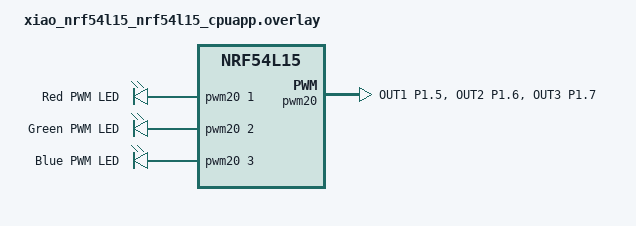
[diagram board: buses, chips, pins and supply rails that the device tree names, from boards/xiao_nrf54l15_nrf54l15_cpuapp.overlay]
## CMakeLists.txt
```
# SPDX-License-Identifier: Apache-2.0

cmake_minimum_required(VERSION 3.20.0)
# Boot-time reset reason readout, see lib/reset_reason
list(APPEND ZEPHYR_EXTRA_MODULES ${CMAKE_CURRENT_LIST_DIR}/../lib/reset_reason)
find_package(Zephyr REQUIRED HINTS $ENV{ZEPHYR_BASE})
project(pwm_rgb_led)

target_sources(app PRIVATE
  src/main.c
)
```

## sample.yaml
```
sample:
  name: PWM RGB LED
  description: RGB LED control using 3-channel PWM with rainbow effects and HSV color conversion
tests:
  sample.pwm.rgb_led:
    harness: console
    platform_allow:
      - xiao_nrf54l15/nrf54l15/cpuapp
    tags: pwm rgb led color hsv
    integration_platforms:
      - xiao_nrf54l15/nrf54l15/cpuapp
```

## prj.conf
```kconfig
CONFIG_PRINTK=y
CONFIG_PWM=y
CONFIG_LOG=y
CONFIG_LOG_PRINTK=y
CONFIG_LOG_MODE_IMMEDIATE=y
CONFIG_PWM_LOG_LEVEL_DBG=y

# Enable floating point for HSV to RGB conversion
CONFIG_FPU=y
CONFIG_NEWLIB_LIBC=y
CONFIG_NEWLIB_LIBC_FLOAT_PRINTF=y

# Disable serial to allow battery startup without USB
CONFIG_SERIAL=n
```

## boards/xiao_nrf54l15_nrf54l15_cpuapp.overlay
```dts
/*
 * Copyright (c) 2024 Nordic Semiconductor ASA
 *
 * SPDX-License-Identifier: Apache-2.0
 * 
 * PWM RGB LED sample for XIAO nRF54L15
 * 
 * RGB LED connections:
 * - D1 (P1.05): Red   - PWM20 CHAN[1]
 * - D2 (P1.06): Green - PWM20 CHAN[2]
 * - D3 (P1.07): Blue  - PWM20 CHAN[3]
 */

#include <zephyr/dt-bindings/pwm/pwm.h>

/ {
	aliases { 
		red-pwm-led = &red_pwm_led;
		green-pwm-led = &green_pwm_led;
		blue-pwm-led = &blue_pwm_led;
	};
	
	pwmleds {
		compatible = "pwm-leds";
		
		red_pwm_led: red_pwm_led {
			pwms = <&pwm20 1 PWM_MSEC(20) PWM_POLARITY_NORMAL>;
			label = "Red PWM LED";
		};
		
		green_pwm_led: green_pwm_led {
			pwms = <&pwm20 2 PWM_MSEC(20) PWM_POLARITY_NORMAL>;
			label = "Green PWM LED";
		};
		
		blue_pwm_led: blue_pwm_led {
			pwms = <&pwm20 3 PWM_MSEC(20) PWM_POLARITY_NORMAL>;
			label = "Blue PWM LED";
		};
	};
};

/* Enable PWM instance 20 */
&pwm20 {
	status = "okay";
	pinctrl-0 = <&pwm20_default>;
	pinctrl-1 = <&pwm20_sleep>;
	pinctrl-names = "default", "sleep";
};

/* Configure PWM Channels 1, 2, 3 for RGB on D1, D2, D3 */
&pinctrl {
	pwm20_default: pwm20_default {
		group1 {
			psels = <NRF_PSEL(PWM_OUT1, 1, 5)>,
			        <NRF_PSEL(PWM_OUT2, 1, 6)>,
			        <NRF_PSEL(PWM_OUT3, 1, 7)>;
		};
	};

	pwm20_sleep: pwm20_sleep {
		group1 {
			psels = <NRF_PSEL(PWM_OUT1, 1, 5)>,
			        <NRF_PSEL(PWM_OUT2, 1, 6)>,
			        <NRF_PSEL(PWM_OUT3, 1, 7)>;
			low-power-enable;
		};
	};
};
```

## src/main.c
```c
#include <zephyr/kernel.h>
#include <zephyr/drivers/pwm.h>
#include <zephyr/drivers/gpio.h>
#include <zephyr/pm/pm.h>
#include <zephyr/pm/device.h>
#include <zephyr/logging/log.h>
#include <math.h>

LOG_MODULE_REGISTER(pwm_rgb_example, CONFIG_LOG_DEFAULT_LEVEL);

// PWM period: 1ms (1kHz frequency)
#define PWM_PERIOD_NS 1000000UL

// Get RGB LED PWM specs from device tree
#define RED_PWM_LED   DT_ALIAS(red_pwm_led)
#define GREEN_PWM_LED DT_ALIAS(green_pwm_led)
#define BLUE_PWM_LED  DT_ALIAS(blue_pwm_led)

static const struct pwm_dt_spec red_led = PWM_DT_SPEC_GET(RED_PWM_LED);
static const struct pwm_dt_spec green_led = PWM_DT_SPEC_GET(GREEN_PWM_LED);
static const struct pwm_dt_spec blue_led = PWM_DT_SPEC_GET(BLUE_PWM_LED);

// Button for wake-up
#define BUTTON_NODE DT_ALIAS(sw0)
static const struct gpio_dt_spec button = GPIO_DT_SPEC_GET(BUTTON_NODE, gpios);
static struct gpio_callback button_cb_data;

// Wake-up flag
static volatile bool wakeup_requested = false;

/**
 * @brief Button interrupt handler for wake-up
 */
static void button_pressed(const struct device *dev, struct gpio_callback *cb, uint32_t pins)
{
    wakeup_requested = true;
    LOG_INF("Button wake-up triggered");
}

/**
 * @brief Set RGB LED color with 0-255 values
 */
static int set_rgb_color(uint8_t r, uint8_t g, uint8_t b)
{
    int ret;
    uint32_t red_duty, green_duty, blue_duty;

    // Convert 0-255 to duty cycle in nanoseconds
    red_duty = (PWM_PERIOD_NS * r) / 255U;
    green_duty = (PWM_PERIOD_NS * g) / 255U;
    blue_duty = (PWM_PERIOD_NS * b) / 255U;

    ret = pwm_set_dt(&red_led, PWM_PERIOD_NS, red_duty);
    if (ret < 0) return ret;

    ret = pwm_set_dt(&green_led, PWM_PERIOD_NS, green_duty);
    if (ret < 0) return ret;

    ret = pwm_set_dt(&blue_led, PWM_PERIOD_NS, blue_duty);
    return ret;
}

/**
 * @brief Convert HSV to RGB
 * H: 0-360, S: 0-100, V: 0-100
 */
static void hsv_to_rgb(float h, float s, float v, uint8_t *r, uint8_t *g, uint8_t *b)
{
    float c = v * s / 100.0f;
    float x = c * (1.0f - fabsf(fmodf(h / 60.0f, 2.0f) - 1.0f));
    float m = v / 100.0f - c;
    float r_prime, g_prime, b_prime;

    if (h < 60) {
        r_prime = c; g_prime = x; b_prime = 0;
    } else if (h < 120) {
        r_prime = x; g_prime = c; b_prime = 0;
    } else if (h < 180) {
        r_prime = 0; g_prime = c; b_prime = x;
    } else if (h < 240) {
        r_prime = 0; g_prime = x; b_prime = c;
    } else if (h < 300) {
        r_prime = x; g_prime = 0; b_prime = c;
    } else {
        r_prime = c; g_prime = 0; b_prime = x;
    }

    *r = (uint8_t)((r_prime + m) * 255.0f);
    *g = (uint8_t)((g_prime + m) * 255.0f);
    *b = (uint8_t)((b_prime + m) * 255.0f);
}

/**
 * @brief Smoothly fade from one color to another
 */
static void fade_to_color(uint8_t from_r, uint8_t from_g, uint8_t from_b,
                         uint8_t to_r, uint8_t to_g, uint8_t to_b,
                         int steps, int delay_ms)
{
    for (int i = 0; i <= steps; i++) {
        uint8_t r = from_r + ((to_r - from_r) * i) / steps;
        uint8_t g = from_g + ((to_g - from_g) * i) / steps;
        uint8_t b = from_b + ((to_b - from_b) * i) / steps;
        set_rgb_color(r, g, b);
        k_msleep(delay_ms);
    }
}

int main(void)
{
    int ret;
    uint8_t r, g, b;
    float hue = 0.0f;

    LOG_INF("Starting RGB LED PWM example with button wake...");

    // Check if all PWM devices are ready
    if (!device_is_ready(red_led.dev) || 
        !device_is_ready(green_led.dev) || 
        !device_is_ready(blue_led.dev)) {
        LOG_ERR("One or more PWM devices not ready");
        return -ENODEV;
    }

    // Configure button for wake-up
    if (!device_is_ready(button.port)) {
        LOG_ERR("Button device not ready");
        return -ENODEV;
    }

    ret = gpio_pin_configure_dt(&button, GPIO_INPUT);
    if (ret < 0) {
        LOG_ERR("Failed to configure button GPIO: %d", ret);
        return ret;
    }

    ret = gpio_pin_interrupt_configure_dt(&button, GPIO_INT_EDGE_TO_ACTIVE);
    if (ret < 0) {
        LOG_ERR("Failed to configure button interrupt: %d", ret);
        return ret;
    }

    gpio_init_callback(&button_cb_data, button_pressed, BIT(button.pin));
    gpio_add_callback(button.port, &button_cb_data);

    LOG_INF("Button wake-up configured on sw0");
    LOG_INF("All PWM channels ready. Period: %lu ns (1kHz)", PWM_PERIOD_NS);
    LOG_INF("RGB LED on D1 (Red), D2 (Green), D3 (Blue)");
    LOG_INF("Press button to wake from battery power");

    wakeup_requested = true;  // Start active

    while (1) {
        // Rainbow effect - smooth color cycle through full spectrum
        LOG_INF("Rainbow effect...");
        for (int i = 0; i < 360; i += 2) {
            hue = (float)i;
            hsv_to_rgb(hue, 100.0f, 100.0f, &r, &g, &b);
            
            ret = set_rgb_color(r, g, b);
            if (ret < 0) {
                LOG_ERR("Failed to set RGB color: %d", ret);
                return ret;
            }
            
            k_msleep(20);
        }

        // Fade to white
        LOG_INF("Fading to white...");
        hsv_to_rgb(0, 100.0f, 100.0f, &r, &g, &b);  // Start from red
        fade_to_color(r, g, b, 255, 255, 255, 50, 20);
        k_msleep(1000);

        // Fade to black
        LOG_INF("Fading to black...");
        fade_to_color(255, 255, 255, 0, 0, 0, 50, 20);
        k_msleep(500);

        // Smooth primary colors sequence with fades
        LOG_INF("Primary colors with smooth transitions...");
        fade_to_color(0, 0, 0, 255, 0, 0, 50, 10);      // Fade to Red
        k_msleep(500);
        fade_to_color(255, 0, 0, 0, 255, 0, 50, 10);    // Red to Green
        k_msleep(500);
        fade_to_color(0, 255, 0, 0, 0, 255, 50, 10);    // Green to Blue
        k_msleep(500);
        
        // Smooth secondary colors with fades
        LOG_INF("Secondary colors with smooth transitions...");
        fade_to_color(0, 0, 255, 255, 255, 0, 50, 10);  // Blue to Yellow
        k_msleep(500);
        fade_to_color(255, 255, 0, 0, 255, 255, 50, 10); // Yellow to Cyan
        k_msleep(500);
        fade_to_color(0, 255, 255, 255, 0, 255, 50, 10); // Cyan to Magenta
        k_msleep(500);
        fade_to_color(255, 0, 255, 0, 0, 0, 50, 10);     // Magenta to Black
        k_msleep(500);
    }

    return 0;
}
```
